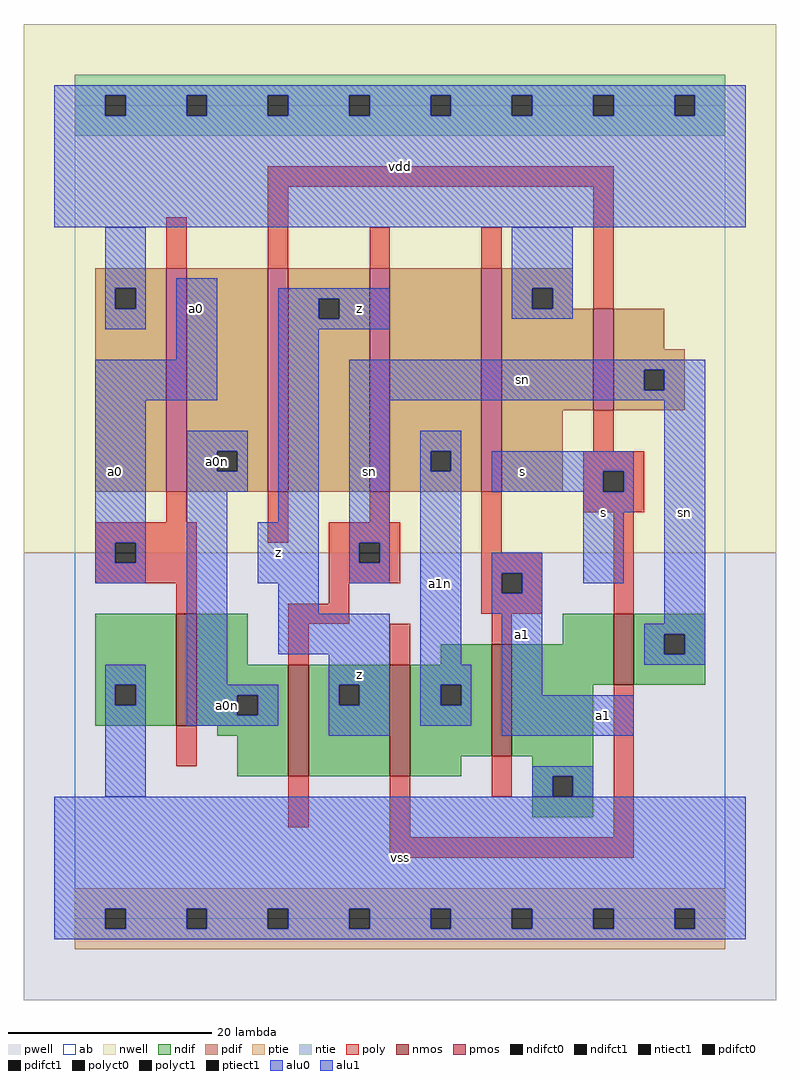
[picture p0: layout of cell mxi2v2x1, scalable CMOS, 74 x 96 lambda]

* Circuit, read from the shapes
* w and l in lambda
.subckt mxi2v2x1 a0 a0n a1 a1n s sn vdd vss z
M1 a0n a0 vss vss nfet w=11 l=2
M2 z sn a0n vss nfet w=11 l=2
M3 a1n s z vss nfet w=11 l=2
M4 vss a1 a1n vss nfet w=11 l=2
M5 sn s vss vss nfet w=7 l=2
M6 a0n a0 vdd vdd pfet w=22 l=2
M7 z s a0n vdd pfet w=22 l=2
M8 a1n sn z vdd pfet w=22 l=2
M9 vdd a1 a1n vdd pfet w=22 l=2
M10 sn s vdd vdd pfet w=10 l=2
.ends

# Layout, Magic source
magic
tech scmos
<< ab >>
rect 0 0 64 80
<< nwell >>
rect -5 36 69 88
<< pwell >>
rect -5 -8 69 36
<< poly >>
rect 19 72 53 74
rect 9 64 11 69
rect 19 64 21 72
rect 29 64 31 68
rect 40 64 42 68
rect 51 60 53 72
rect 51 46 53 50
rect 50 44 56 46
rect 50 42 52 44
rect 54 42 56 44
rect 9 39 11 42
rect 2 37 12 39
rect 19 37 21 42
rect 29 39 31 42
rect 25 37 32 39
rect 2 35 4 37
rect 6 35 12 37
rect 2 33 12 35
rect 10 30 12 33
rect 25 35 28 37
rect 30 35 32 37
rect 25 33 32 35
rect 40 36 42 42
rect 50 40 56 42
rect 40 34 46 36
rect 25 31 27 33
rect 21 29 27 31
rect 40 32 42 34
rect 44 32 46 34
rect 40 30 46 32
rect 53 30 55 40
rect 21 25 23 29
rect 31 25 33 29
rect 41 27 43 30
rect 10 15 12 19
rect 21 9 23 14
rect 31 8 33 14
rect 41 12 43 16
rect 53 8 55 23
rect 31 6 55 8
<< ndif >>
rect 2 23 10 30
rect 2 21 4 23
rect 6 21 10 23
rect 2 19 10 21
rect 12 25 17 30
rect 48 27 53 30
rect 36 25 41 27
rect 12 22 21 25
rect 12 20 16 22
rect 18 20 21 22
rect 12 19 21 20
rect 14 18 21 19
rect 16 14 21 18
rect 23 23 31 25
rect 23 21 26 23
rect 28 21 31 23
rect 23 14 31 21
rect 33 23 41 25
rect 33 21 36 23
rect 38 21 41 23
rect 33 16 41 21
rect 43 23 53 27
rect 55 28 62 30
rect 55 26 58 28
rect 60 26 62 28
rect 55 23 62 26
rect 43 16 51 23
rect 33 14 38 16
rect 45 14 51 16
rect 45 12 47 14
rect 49 12 51 14
rect 45 10 51 12
<< pdif >>
rect 2 62 9 64
rect 2 60 4 62
rect 6 60 9 62
rect 2 42 9 60
rect 11 46 19 64
rect 11 44 14 46
rect 16 44 19 46
rect 11 42 19 44
rect 21 61 29 64
rect 21 59 24 61
rect 26 59 29 61
rect 21 42 29 59
rect 31 46 40 64
rect 31 44 35 46
rect 37 44 40 46
rect 31 42 40 44
rect 42 62 49 64
rect 42 60 45 62
rect 47 60 49 62
rect 42 50 51 60
rect 53 56 58 60
rect 53 54 60 56
rect 53 52 56 54
rect 58 52 60 54
rect 53 50 60 52
rect 42 42 48 50
<< alu1 >>
rect -2 81 66 82
rect -2 79 3 81
rect 5 79 11 81
rect 13 79 19 81
rect 21 79 27 81
rect 29 79 35 81
rect 37 79 43 81
rect 45 79 51 81
rect 53 79 59 81
rect 61 79 66 81
rect -2 68 66 79
rect 10 55 14 63
rect 2 51 14 55
rect 20 61 31 62
rect 20 59 24 61
rect 26 59 31 61
rect 20 58 31 59
rect 2 37 7 51
rect 2 35 4 37
rect 6 35 7 37
rect 2 33 7 35
rect 20 39 24 58
rect 18 33 24 39
rect 20 30 24 33
rect 20 26 31 30
rect 25 23 31 26
rect 25 21 26 23
rect 28 21 31 23
rect 25 18 31 21
rect 41 44 55 46
rect 41 42 52 44
rect 54 42 55 44
rect 50 40 55 42
rect 41 34 46 36
rect 41 32 42 34
rect 44 32 46 34
rect 50 33 54 40
rect 41 30 46 32
rect 42 22 46 30
rect 42 18 55 22
rect -2 1 66 12
rect -2 -1 3 1
rect 5 -1 11 1
rect 13 -1 19 1
rect 21 -1 27 1
rect 29 -1 35 1
rect 37 -1 43 1
rect 45 -1 51 1
rect 53 -1 59 1
rect 61 -1 66 1
rect -2 -2 66 -1
<< ptie >>
rect 0 1 64 3
rect 0 -1 3 1
rect 5 -1 11 1
rect 13 -1 19 1
rect 21 -1 27 1
rect 29 -1 35 1
rect 37 -1 43 1
rect 45 -1 51 1
rect 53 -1 59 1
rect 61 -1 64 1
rect 0 -3 64 -1
<< ntie >>
rect 0 81 64 83
rect 0 79 3 81
rect 5 79 11 81
rect 13 79 19 81
rect 21 79 27 81
rect 29 79 35 81
rect 37 79 43 81
rect 45 79 51 81
rect 53 79 59 81
rect 61 79 64 81
rect 0 77 64 79
<< nmos >>
rect 10 19 12 30
rect 21 14 23 25
rect 31 14 33 25
rect 41 16 43 27
rect 53 23 55 30
<< pmos >>
rect 9 42 11 64
rect 19 42 21 64
rect 29 42 31 64
rect 40 42 42 64
rect 51 50 53 60
<< polyct0 >>
rect 28 35 30 37
<< polyct1 >>
rect 52 42 54 44
rect 4 35 6 37
rect 42 32 44 34
<< ndifct0 >>
rect 4 21 6 23
rect 16 20 18 22
rect 36 21 38 23
rect 58 26 60 28
rect 47 12 49 14
<< ndifct1 >>
rect 26 21 28 23
<< ntiect1 >>
rect 3 79 5 81
rect 11 79 13 81
rect 19 79 21 81
rect 27 79 29 81
rect 35 79 37 81
rect 43 79 45 81
rect 51 79 53 81
rect 59 79 61 81
<< ptiect1 >>
rect 3 -1 5 1
rect 11 -1 13 1
rect 19 -1 21 1
rect 27 -1 29 1
rect 35 -1 37 1
rect 43 -1 45 1
rect 51 -1 53 1
rect 59 -1 61 1
<< pdifct0 >>
rect 4 60 6 62
rect 14 44 16 46
rect 35 44 37 46
rect 45 60 47 62
rect 56 52 58 54
<< pdifct1 >>
rect 24 59 26 61
<< alu0 >>
rect 3 62 7 68
rect 3 60 4 62
rect 6 60 7 62
rect 3 58 7 60
rect 43 62 49 68
rect 43 60 45 62
rect 47 60 49 62
rect 43 59 49 60
rect 11 46 17 48
rect 11 44 14 46
rect 16 44 17 46
rect 11 42 17 44
rect 3 23 7 25
rect 3 21 4 23
rect 6 21 7 23
rect 3 12 7 21
rect 11 23 15 42
rect 27 54 62 55
rect 27 52 56 54
rect 58 52 62 54
rect 27 51 62 52
rect 27 37 31 51
rect 27 35 28 37
rect 30 35 31 37
rect 27 33 31 35
rect 34 46 38 48
rect 34 44 35 46
rect 37 44 38 46
rect 11 22 20 23
rect 11 20 16 22
rect 18 20 20 22
rect 11 19 20 20
rect 34 25 38 44
rect 34 23 39 25
rect 34 21 36 23
rect 38 21 39 23
rect 34 19 39 21
rect 58 29 62 51
rect 56 28 62 29
rect 56 26 58 28
rect 60 26 62 28
rect 56 25 62 26
rect 45 14 51 15
rect 45 12 47 14
rect 49 12 51 14
<< labels >>
rlabel alu0 15 21 15 21 6 a0n
rlabel alu0 29 44 29 44 6 sn
rlabel alu0 14 45 14 45 6 a0n
rlabel alu0 36 33 36 33 6 a1n
rlabel alu0 60 40 60 40 6 sn
rlabel alu0 44 53 44 53 6 sn
rlabel alu1 4 44 4 44 6 a0
rlabel alu1 12 60 12 60 6 a0
rlabel alu1 20 36 20 36 6 z
rlabel alu1 28 24 28 24 6 z
rlabel alu1 28 60 28 60 6 z
rlabel alu1 32 6 32 6 6 vss
rlabel alu1 44 28 44 28 6 a1
rlabel alu1 44 44 44 44 6 s
rlabel alu1 32 74 32 74 6 vdd
rlabel alu1 52 20 52 20 6 a1
rlabel alu1 52 40 52 40 6 s
<< end >>
